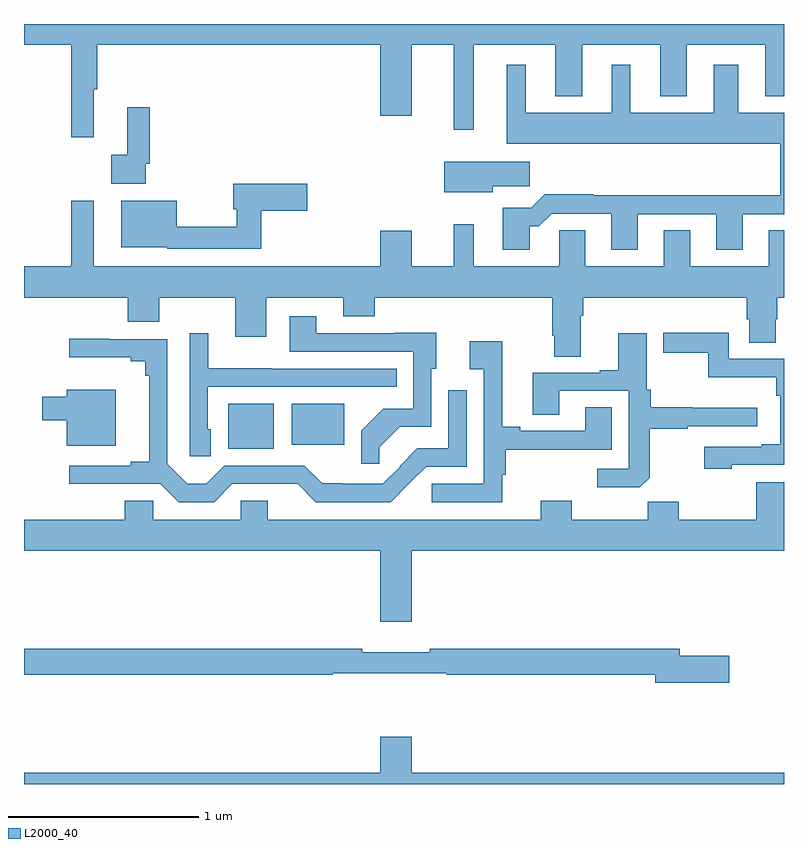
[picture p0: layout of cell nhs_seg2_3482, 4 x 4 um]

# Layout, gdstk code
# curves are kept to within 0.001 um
import gdstk
lib = gdstk.Library(unit=1e-6, precision=1e-09)
def R(c, l, rs):  # rectangles x0, y0, x1, y1
    for r in rs: c.add(gdstk.rectangle(r[:2], r[2:], *l))
def P(c, l, *ps):  # polygons
    for p in ps: c.add(gdstk.Polygon(p, *l))
L2000_40 = (2000, 40)

nhs_seg2_3482 = lib.new_cell('nhs_seg2_3482')
R(nhs_seg2_3482, L2000_40, [(296.075,589.565,296.314,589.801), (296.408,589.586,296.686,589.801)])
P(nhs_seg2_3482, L2000_40, [(295.367,591.456),(295.385,591.456),(295.385,591.692),(296.876,591.692),(296.876,591.318),(297.04,591.318),(297.04,591.692),(297.263,591.692),(297.263,591.243),(297.367,591.243),(297.367,591.692),(297.797,591.692),(297.797,591.419),(297.937,591.419),(297.937,591.692),(298.349,591.692),(298.349,591.419),(298.489,591.419),(298.489,591.692),(298.901,591.692),(298.901,591.419),(299,591.419),(299,591.8),(295,591.8),(295,591.692),(295.249,591.692),(295.249,591.204),(295.367,591.204)],
  [(297.661,590.735),(297.71,590.735),(297.777,590.802),(298.091,590.802),(298.091,590.613),(298.231,590.613),(298.231,590.799),(298.643,590.799),(298.643,590.613),(298.783,590.613),(298.783,590.799),(299,590.799),(299,591.334),(298.759,591.334),(298.759,591.586),(298.631,591.586),(298.631,591.334),(298.192,591.334),(298.192,591.586),(298.094,591.586),(298.094,591.334),(297.64,591.334),(297.64,591.586),(297.542,591.586),(297.542,591.17),(298.979,591.17),(298.979,590.9),(297.995,590.9),(297.995,590.903),(297.74,590.903),(297.67,590.833),(297.521,590.833),(297.521,590.613),(297.661,590.613)],
  [(295.641,591.064),(295.661,591.064),(295.661,591.361),(295.544,591.361),(295.544,591.113),(295.458,591.113),(295.458,590.96),(295.641,590.96)],
  [(297.466,590.947),(297.661,590.947),(297.661,591.076),(297.212,591.076),(297.212,590.915),(297.466,590.915)],
  [(296.249,590.818),(296.491,590.818),(296.491,590.96),(296.102,590.96),(296.102,590.825),(296.121,590.825),(296.121,590.732),(295.804,590.732),(295.804,590.869),(295.511,590.869),(295.511,590.624),(295.755,590.624),(295.755,590.616),(296.249,590.616)],
  [(298.805,590.247),(298.817,590.247),(298.817,590.122),(298.957,590.122),(298.957,590.247),(298.965,590.247),(298.965,590.36),(299,590.36),(299,590.714),(298.919,590.714),(298.919,590.524),(298.507,590.524),(298.507,590.714),(298.367,590.714),(298.367,590.524),(297.955,590.524),(297.955,590.714),(297.816,590.714),(297.816,590.524),(297.367,590.524),(297.367,590.746),(297.263,590.746),(297.263,590.524),(297.04,590.524),(297.04,590.713),(296.876,590.713),(296.876,590.524),(295.366,590.524),(295.366,590.869),(295.249,590.869),(295.249,590.524),(295,590.524),(295,590.36),(295.547,590.36),(295.547,590.232),(295.711,590.232),(295.711,590.36),(296.111,590.36),(296.111,590.154),(296.275,590.154),(296.275,590.36),(296.681,590.36),(296.681,590.261),(296.845,590.261),(296.845,590.36),(297.779,590.36),(297.779,590.158),(297.791,590.158),(297.791,590.05),(297.931,590.05),(297.931,590.264),(297.944,590.264),(297.944,590.36),(298.805,590.36)],
  [(296.87,589.572),(296.978,589.68),(297.144,589.68),(297.144,589.986),(297.169,589.986),(297.169,590.174),(296.951,590.174),(296.951,590.172),(296.539,590.172),(296.539,590.263),(296.399,590.263),(296.399,590.076),(297.048,590.076),(297.048,589.776),(296.891,589.776),(296.775,589.66),(296.775,589.485),(296.87,589.485)],
  [(298.725,589.479),(299,589.479),(299,590.037),(298.71,590.037),(298.71,590.174),(298.365,590.174),(298.365,590.071),(298.602,590.071),(298.602,589.94),(298.96,589.94),(298.96,589.844),(298.98,589.844),(298.98,589.588),(298.883,589.588),(298.883,589.575),(298.581,589.575),(298.581,589.46),(298.725,589.46)],
  [(298.293,589.413),(298.293,589.671),(298.493,589.671),(298.493,589.683),(298.858,589.683),(298.858,589.78),(298.517,589.78),(298.517,589.784),(298.298,589.784),(298.298,589.876),(298.278,589.876),(298.278,590.173),(298.127,590.173),(298.127,589.978),(298.031,589.978),(298.031,589.965),(297.677,589.965),(297.677,589.744),(297.817,589.744),(297.817,589.869),(298.182,589.869),(298.182,589.458),(298.017,589.458),(298.017,589.362),(298.241,589.362)],
  [(295.984,589.668),(295.968,589.668),(295.968,589.89),(296.963,589.89),(296.963,589.986),(296.303,589.986),(296.303,589.987),(295.969,589.987),(295.969,590.173),(295.872,590.173),(295.872,589.525),(295.984,589.525)],
  [(296.097,589.38),(296.441,589.379),(296.535,589.284),(296.929,589.284),(297.117,589.47),(297.33,589.47),(297.33,589.873),(297.234,589.873),(297.234,589.566),(297.071,589.566),(296.977,589.472),(296.979,589.47),(296.889,589.38),(296.674,589.38),(296.674,589.382),(296.57,589.382),(296.475,589.476),(296.055,589.476),(295.96,589.381),(295.859,589.381),(295.755,589.485),(295.755,590.142),(295.451,590.142),(295.451,590.144),(295.239,590.144),(295.239,590.045),(295.562,590.045),(295.562,590.026),(295.639,590.026),(295.639,589.949),(295.658,589.949),(295.658,589.496),(295.562,589.496),(295.562,589.476),(295.239,589.476),(295.239,589.379),(295.718,589.38),(295.814,589.284),(296.001,589.284)],
  [(297.518,589.427),(297.536,589.427),(297.536,589.558),(298.093,589.558),(298.093,589.784),(297.953,589.784),(297.953,589.659),(297.613,589.659),(297.613,589.679),(297.517,589.679),(297.517,590.131),(297.345,590.131),(297.345,589.982),(297.42,589.982),(297.42,589.38),(297.147,589.38),(297.147,589.284),(297.518,589.284)],
  [(295.483,589.876),(295.226,589.876),(295.226,589.837),(295.095,589.837),(295.095,589.715),(295.226,589.715),(295.226,589.58),(295.483,589.58)],
  [(297.04,589.028),(299,589.028),(299,589.387),(298.853,589.387),(298.853,589.192),(298.447,589.192),(298.447,589.285),(298.283,589.285),(298.283,589.192),(297.883,589.192),(297.883,589.291),(297.719,589.291),(297.719,589.192),(296.284,589.192),(296.284,589.29),(296.142,589.29),(296.142,589.192),(295.68,589.192),(295.68,589.29),(295.529,589.29),(295.529,589.192),(295,589.192),(295,589.028),(296.876,589.028),(296.876,588.654),(297.04,588.654)],
  [(298.711,588.476),(298.45,588.476),(298.45,588.512),(297.136,588.512),(297.136,588.493),(296.78,588.493),(296.78,588.512),(295,588.512),(295,588.376),(296.626,588.376),(296.626,588.384),(297.226,588.384),(297.226,588.376),(298.322,588.376),(298.322,588.334),(298.711,588.334)],
  [(299,587.86),(297.04,587.86),(297.04,588.049),(296.876,588.049),(296.876,587.86),(295,587.86),(295,587.8),(299,587.8)])

lib.write_gds('nhs_seg2_3482.gds')
